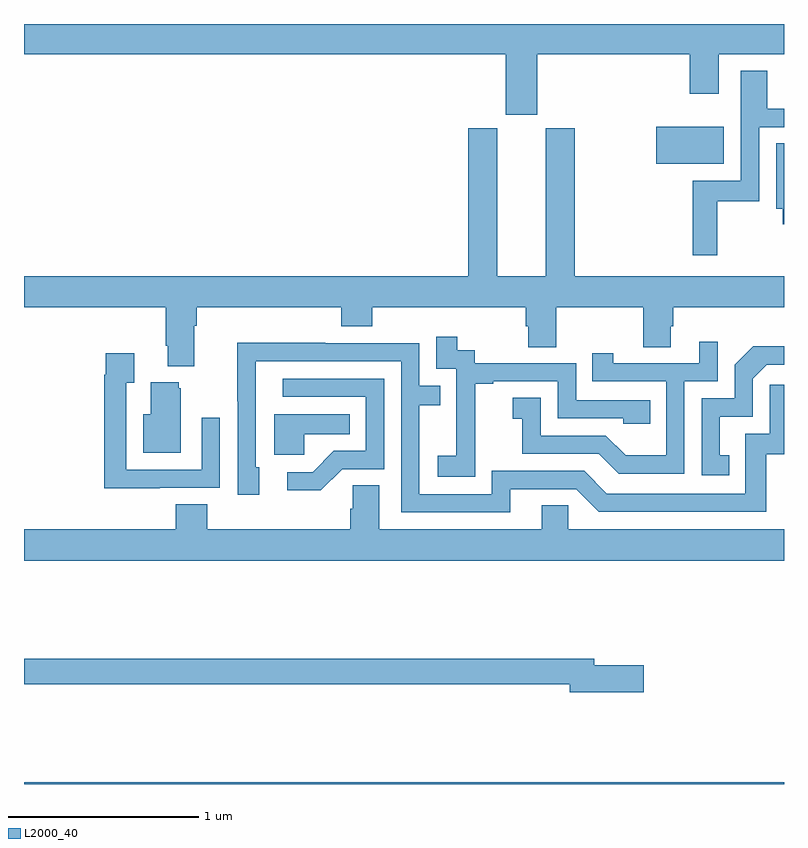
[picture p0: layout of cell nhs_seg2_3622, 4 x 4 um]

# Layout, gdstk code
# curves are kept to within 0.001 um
import gdstk
lib = gdstk.Library(unit=1e-6, precision=1e-09)
def R(c, l, rs):  # rectangles x0, y0, x1, y1
    for r in rs: c.add(gdstk.rectangle(r[:2], r[2:], *l))
def P(c, l, *ps):  # polygons
    for p in ps: c.add(gdstk.Polygon(p, *l))
L2000_40 = (2000, 40)

nhs_seg2_3622 = lib.new_cell('nhs_seg2_3622')
R(nhs_seg2_3622, L2000_40, [(301,639.8,305,639.808), (304.328,643.064,304.684,643.258)])
P(nhs_seg2_3622, L2000_40, [(303.7,643.64),(304.505,643.64),(304.505,643.434),(304.657,643.434),(304.657,643.64),(305,643.64),(305,643.8),(301,643.8),(301,643.64),(303.536,643.64),(303.536,643.323),(303.7,643.323)],
  [(304.648,642.867),(304.869,642.867),(304.869,643.257),(305,643.257),(305,643.353),(304.912,643.353),(304.912,643.555),(304.773,643.555),(304.773,642.975),(304.519,642.975),(304.519,642.582),(304.648,642.582)],
  [(301.897,642.212),(301.91,642.212),(301.91,642.308),(302.669,642.308),(302.669,642.209),(302.834,642.209),(302.834,642.308),(303.641,642.308),(303.641,642.21),(303.653,642.21),(303.653,642.1),(303.801,642.1),(303.801,642.308),(304.258,642.308),(304.258,642.1),(304.405,642.1),(304.405,642.21),(304.418,642.21),(304.418,642.308),(305,642.308),(305,642.472),(303.899,642.472),(303.899,643.251),(303.746,643.251),(303.746,642.472),(303.49,642.472),(303.49,643.251),(303.338,643.251),(303.338,642.472),(301,642.472),(301,642.308),(301.745,642.308),(301.745,642.106),(301.757,642.106),(301.757,641.999),(301.897,641.999)],
  [(305,643.172),(304.958,643.172),(304.958,642.827),(304.993,642.827),(304.993,642.747),(305,642.747)],
  [(303.375,641.623),(303.374,641.623),(303.374,641.907),(303.469,641.907),(303.469,641.919),(303.81,641.919),(303.81,641.724),(304.155,641.724),(304.155,641.697),(304.295,641.697),(304.295,641.82),(303.906,641.82),(303.906,642.015),(303.372,642.015),(303.372,642.084),(303.28,642.084),(303.28,642.154),(303.171,642.154),(303.171,641.985),(303.276,641.985),(303.276,641.756),(303.275,641.756),(303.275,641.527),(303.177,641.527),(303.177,641.417),(303.375,641.417)],
  [(304.476,641.919),(304.65,641.919),(304.65,642.127),(304.553,642.127),(304.553,642.015),(304.102,642.015),(304.102,642.067),(303.991,642.067),(303.991,641.919),(304.38,641.919),(304.38,641.53),(304.166,641.53),(304.062,641.634),(303.72,641.634),(303.72,641.833),(303.573,641.833),(303.573,641.723),(303.622,641.723),(303.622,641.538),(304.025,641.538),(304.13,641.433),(304.476,641.433)],
  [(303.559,641.352),(303.906,641.352),(304.026,641.232),(304.906,641.232),(304.906,641.535),(305,641.535),(305,641.902),(304.926,641.902),(304.926,641.643),(304.797,641.643),(304.797,641.328),(304.068,641.328),(303.948,641.448),(303.462,641.448),(303.462,641.325),(303.081,641.325),(303.081,641.794),(303.191,641.794),(303.191,641.895),(303.081,641.895),(303.081,642.12),(302.585,642.12),(302.585,642.122),(302.122,642.122),(302.122,641.815),(302.124,641.815),(302.124,641.322),(302.239,641.322),(302.239,641.466),(302.22,641.466),(302.221,642.024),(302.985,642.024),(302.985,641.229),(303.559,641.229)],
  [(304.712,641.529),(304.663,641.529),(304.663,641.733),(304.836,641.733),(304.836,641.934),(304.908,642.006),(305,642.006),(305,642.104),(304.838,642.104),(304.74,642.006),(304.74,641.829),(304.566,641.829),(304.566,641.424),(304.712,641.424)],
  [(301.715,641.358),(302.031,641.358),(302.031,641.728),(301.935,641.728),(301.935,641.454),(301.539,641.454),(301.539,641.911),(301.579,641.911),(301.579,642.067),(301.431,642.067),(301.431,641.954),(301.423,641.954),(301.423,641.357),(301.715,641.357)],
  [(302.676,641.457),(302.895,641.457),(302.895,641.934),(302.361,641.934),(302.361,641.838),(302.799,641.838),(302.799,641.553),(302.63,641.553),(302.519,641.442),(302.385,641.442),(302.385,641.345),(302.563,641.345)],
  [(301.825,641.883),(301.814,641.883),(301.814,641.914),(301.667,641.914),(301.667,641.746),(301.628,641.746),(301.628,641.543),(301.825,641.543)],
  [(302.475,641.642),(302.714,641.642),(302.714,641.746),(302.318,641.746),(302.318,641.534),(302.475,641.534)],
  [(305,641.14),(303.864,641.14),(303.864,641.267),(303.725,641.267),(303.725,641.14),(302.869,641.14),(302.869,641.372),(302.73,641.372),(302.73,641.249),(302.717,641.249),(302.717,641.14),(301.964,641.14),(301.964,641.273),(301.799,641.273),(301.799,641.14),(301,641.14),(301,640.976),(305,640.976)],
  [(304.261,640.424),(304,640.424),(304,640.46),(301,640.46),(301,640.324),(303.872,640.324),(303.872,640.282),(304.261,640.282)])

lib.write_gds('nhs_seg2_3622.gds')
